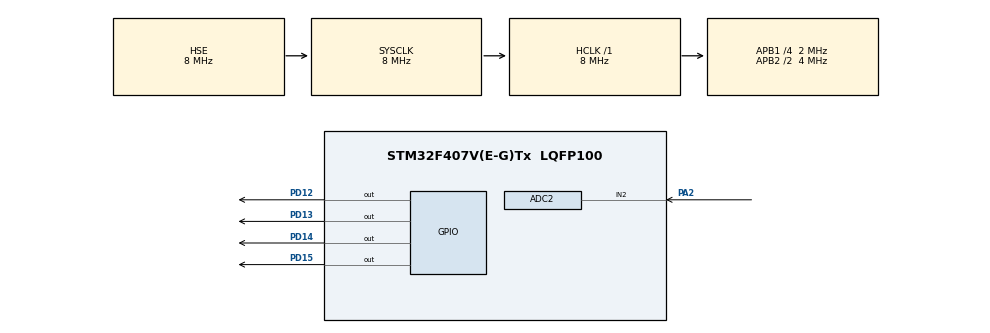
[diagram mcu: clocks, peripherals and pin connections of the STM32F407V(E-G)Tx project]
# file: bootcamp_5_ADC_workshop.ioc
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ADC2.Channel-0\#ChannelRegularConversion=ADC_CHANNEL_2
ADC2.ContinuousConvMode=ENABLE
ADC2.NbrOfConversionFlag=1
ADC2.Rank-0\#ChannelRegularConversion=1
ADC2.Resolution=ADC_RESOLUTION_10B
ADC2.SamplingTime-0\#ChannelRegularConversion=ADC_SAMPLETIME_56CYCLES
Mcu.Family=STM32F4
Mcu.Name=STM32F407V(E-G)Tx
Mcu.Package=LQFP100
NVIC.PriorityGroup=NVIC_PRIORITYGROUP_0
PA13.Mode=Serial_Wire
PA13.Signal=SYS_JTMS-SWDIO
PA14.Mode=Serial_Wire
PA14.Signal=SYS_JTCK-SWCLK
PA2.Signal=ADCx_IN2
PD12.Signal=GPIO_Output
PD13.Signal=GPIO_Output
PD14.Signal=GPIO_Output
PD15.Signal=GPIO_Output
PH0-OSC_IN.Mode=HSE-External-Oscillator
PH0-OSC_IN.Signal=RCC_OSC_IN
PH1-OSC_OUT.Mode=HSE-External-Oscillator
PH1-OSC_OUT.Signal=RCC_OSC_OUT
ProjectManager.HeapSize=0x200
ProjectManager.StackSize=0x400
ProjectManager.TargetToolchain=MDK-ARM V5.32
RCC.48MHZClocksFreq_Value=48000000
RCC.AHBFreq_Value=8000000
RCC.APB1CLKDivider=RCC_HCLK_DIV4
RCC.APB1Freq_Value=2000000
RCC.APB1TimFreq_Value=4000000
RCC.APB2CLKDivider=RCC_HCLK_DIV2
RCC.APB2Freq_Value=4000000
RCC.APB2TimFreq_Value=8000000
RCC.CortexFreq_Value=8000000
RCC.HCLKFreq_Value=8000000
RCC.HSE_VALUE=8000000
RCC.HSI_VALUE=16000000
RCC.PLLM=8
RCC.PLLN=336
RCC.PLLQ=7
RCC.PLLSourceVirtual=RCC_PLLSOURCE_HSE
RCC.SYSCLKFreq_VALUE=8000000
RCC.SYSCLKSource=RCC_SYSCLKSOURCE_HSE
RCC.VCOOutputFreq_Value=336000000
SH.ADCx_IN2.0=ADC2_IN2,IN2
board=STM32F407G-DISC1

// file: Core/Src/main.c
/* USER CODE BEGIN Header */
/**
  ******************************************************************************
  * @file           : main.c
  * @brief          : Main program body
  ******************************************************************************
  * @attention
  *
  * <h2><center>&copy; Copyright (c) 2022 STMicroelectronics.
  * All rights reserved.</center></h2>
  *
  * This software component is licensed by ST under BSD 3-Clause license,
  * the "License"; You may not use this file except in compliance with the
  * License. You may obtain a copy of the License at:
  *                        opensource.org/licenses/BSD-3-Clause
  *
  ******************************************************************************
  */
/* USER CODE END Header */
#include "main.h"

ADC_HandleTypeDef hadc2;

void SystemClock_Config(void);
static void MX_GPIO_Init(void);
static void MX_ADC2_Init(void);

/* USER CODE BEGIN 0 */
int adc_value=0;
/* USER CODE END 0 */

int main(void)
{

  /* MCU Configuration--------------------------------------------------------*/

  /* Reset of all peripherals, Initializes the Flash interface and the Systick. */
  HAL_Init();

  /* Configure the system clock */
  SystemClock_Config();

  /* Initialize all configured peripherals */
  MX_GPIO_Init();
  MX_ADC2_Init();

  /* Infinite loop */
  while (1)
  {

    /* USER CODE BEGIN 3 */
		HAL_ADC_Start(&hadc2);
		if(HAL_ADC_PollForConversion(&hadc2,10000)==HAL_OK){
			adc_value=HAL_ADC_GetValue(&hadc2);

			if(adc_value>=0 && adc_value<=255){
				HAL_GPIO_WritePin(GPIOD,GPIO_PIN_12,1);
				HAL_GPIO_WritePin(GPIOD,GPIO_PIN_13,0);
				HAL_GPIO_WritePin(GPIOD,GPIO_PIN_14,0);
				HAL_GPIO_WritePin(GPIOD,GPIO_PIN_15,0);
			}
			if(adc_value>=256 && adc_value<=511){
				HAL_GPIO_WritePin(GPIOD,GPIO_PIN_12,0);
				HAL_GPIO_WritePin(GPIOD,GPIO_PIN_13,1);
				HAL_GPIO_WritePin(GPIOD,GPIO_PIN_14,0);
				HAL_GPIO_WritePin(GPIOD,GPIO_PIN_15,0);
			}
			if(adc_value>=512 && adc_value<=767){
				HAL_GPIO_WritePin(GPIOD,GPIO_PIN_12,0);
				HAL_GPIO_WritePin(GPIOD,GPIO_PIN_13,0);
				HAL_GPIO_WritePin(GPIOD,GPIO_PIN_14,1);
				HAL_GPIO_WritePin(GPIOD,GPIO_PIN_15,0);
			}
			if(adc_value>=768 && adc_value<=1023){
				HAL_GPIO_WritePin(GPIOD,GPIO_PIN_12,0);
				HAL_GPIO_WritePin(GPIOD,GPIO_PIN_13,0);
				HAL_GPIO_WritePin(GPIOD,GPIO_PIN_14,0);
				HAL_GPIO_WritePin(GPIOD,GPIO_PIN_15,1);
			}
			HAL_ADC_Stop(&hadc2);
		}
  }
  /* USER CODE END 3 */
}

void SystemClock_Config(void)
{
  RCC_OscInitTypeDef RCC_OscInitStruct = {0};
  RCC_ClkInitTypeDef RCC_ClkInitStruct = {0};

  /** Configure the main internal regulator output voltage
  */
  __HAL_RCC_PWR_CLK_ENABLE();
  __HAL_PWR_VOLTAGESCALING_CONFIG(PWR_REGULATOR_VOLTAGE_SCALE1);
  /** Initializes the RCC Oscillators according to the specified parameters
  * in the RCC_OscInitTypeDef structure.
  */
  RCC_OscInitStruct.OscillatorType = RCC_OSCILLATORTYPE_HSE;
  RCC_OscInitStruct.HSEState = RCC_HSE_ON;
  RCC_OscInitStruct.PLL.PLLState = RCC_PLL_NONE;
  if (HAL_RCC_OscConfig(&RCC_OscInitStruct) != HAL_OK)
  {
    Error_Handler();
  }
  /** Initializes the CPU, AHB and APB buses clocks
  */
  RCC_ClkInitStruct.ClockType = RCC_CLOCKTYPE_HCLK|RCC_CLOCKTYPE_SYSCLK
                              |RCC_CLOCKTYPE_PCLK1|RCC_CLOCKTYPE_PCLK2;
  RCC_ClkInitStruct.SYSCLKSource = RCC_SYSCLKSOURCE_HSE;
  RCC_ClkInitStruct.AHBCLKDivider = RCC_SYSCLK_DIV1;
  RCC_ClkInitStruct.APB1CLKDivider = RCC_HCLK_DIV4;
  RCC_ClkInitStruct.APB2CLKDivider = RCC_HCLK_DIV2;

  if (HAL_RCC_ClockConfig(&RCC_ClkInitStruct, FLASH_LATENCY_0) != HAL_OK)
  {
    Error_Handler();
  }
}

static void MX_ADC2_Init(void)
{

  ADC_ChannelConfTypeDef sConfig = {0};

  /** Configure the global features of the ADC (Clock, Resolution, Data Alignment and number of conversion)
  */
  hadc2.Instance = ADC2;
  hadc2.Init.ClockPrescaler = ADC_CLOCK_SYNC_PCLK_DIV2;
  hadc2.Init.Resolution = ADC_RESOLUTION_10B;
  hadc2.Init.ScanConvMode = DISABLE;
  hadc2.Init.ContinuousConvMode = ENABLE;
  hadc2.Init.DiscontinuousConvMode = DISABLE;
  hadc2.Init.ExternalTrigConvEdge = ADC_EXTERNALTRIGCONVEDGE_NONE;
  hadc2.Init.ExternalTrigConv = ADC_SOFTWARE_START;
  hadc2.Init.DataAlign = ADC_DATAALIGN_RIGHT;
  hadc2.Init.NbrOfConversion = 1;
  hadc2.Init.DMAContinuousRequests = DISABLE;
  hadc2.Init.EOCSelection = ADC_EOC_SINGLE_CONV;
  if (HAL_ADC_Init(&hadc2) != HAL_OK)
  {
    Error_Handler();
  }
  /** Configure for the selected ADC regular channel its corresponding rank in the sequencer and its sample time.
  */
  sConfig.Channel = ADC_CHANNEL_2;
  sConfig.Rank = 1;
  sConfig.SamplingTime = ADC_SAMPLETIME_56CYCLES;
  if (HAL_ADC_ConfigChannel(&hadc2, &sConfig) != HAL_OK)
  {
    Error_Handler();
  }

}

static void MX_GPIO_Init(void)
{
  GPIO_InitTypeDef GPIO_InitStruct = {0};

  /* GPIO Ports Clock Enable */
  __HAL_RCC_GPIOH_CLK_ENABLE();
  __HAL_RCC_GPIOA_CLK_ENABLE();
  __HAL_RCC_GPIOD_CLK_ENABLE();

  /*Configure GPIO pin Output Level */
  HAL_GPIO_WritePin(GPIOD, GPIO_PIN_12|GPIO_PIN_13|GPIO_PIN_14|GPIO_PIN_15, GPIO_PIN_RESET);

  /*Configure GPIO pins : PD12 PD13 PD14 PD15 */
  GPIO_InitStruct.Pin = GPIO_PIN_12|GPIO_PIN_13|GPIO_PIN_14|GPIO_PIN_15;
  GPIO_InitStruct.Mode = GPIO_MODE_OUTPUT_PP;
  GPIO_InitStruct.Pull = GPIO_NOPULL;
  GPIO_InitStruct.Speed = GPIO_SPEED_FREQ_LOW;
  HAL_GPIO_Init(GPIOD, &GPIO_InitStruct);

}

void Error_Handler(void)
{
  __disable_irq();
  while (1)
  {
  }
}

/************************ (C) COPYRIGHT STMicroelectronics *****END OF FILE****/
